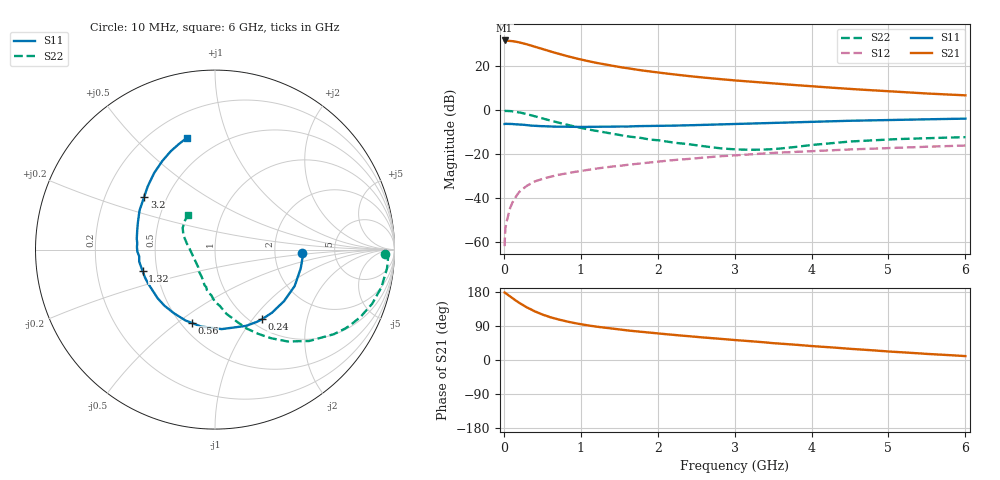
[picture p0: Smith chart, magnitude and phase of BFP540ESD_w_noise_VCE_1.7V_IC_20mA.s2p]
! Infineon Technologies  Discrete & RF Semiconductors
! BFP540ESD
! VCE =  1.7 V,  IC =  20 mA
! Common Emitter S-Parameters:  Nov 2015
# GHz  S  MA  R  50
!  f  S11  S21  S12  S22
! GHz  MAG  ANG  MAG  ANG  MAG  ANG  MAG  ANG
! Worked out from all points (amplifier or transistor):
!   210 points, 10 MHz to 6 GHz, reference 50 ohm
!   highest |S21| = 31.8 dB at 10 MHz (marker M1)
!   |S21| within 3 dB of that: start of sweep to 416.5 MHz
!   unconditionally stable (mu >= 1): start of sweep to 10.41 MHz; 2.131 GHz to end of sweep
!   at 185 MHz: K = 0.20, MSG = 34.5 dB, |S12| = -38.0 dB
!   at 1.52 GHz: K = 0.90, MSG = 22.4 dB, |S12| = -25.3 dB
!   at 6 GHz: K = 1.12, MAG = 9.3 dB, |S12| = -16.1 dB
!   lowest NFmin = 1.17 dB at 900 MHz
!   S11 on the Smith chart (normalised r, x): 10 MHz: 2.88, -0.14; 240 MHz: 1.12, -1.12; 560 MHz: 0.57, -0.57; 1.32 GHz: 0.42, -0.12; 3.2 GHz: 0.37, +0.29; 6 GHz: 0.34, +0.72
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0.01  0.4857 -2.2  38.81 178.1  0.0008 109.0  0.9492 -1.4
0.05  0.489 -12.4  38.43 172.3  0.0036 89.4  0.9641 -6.2
0.1  0.488 -24.6  37.82 164.9  0.0072 83.0  0.9506 -12.8
0.155  0.4786 -37.8  36.49 157.0  0.0105 78.4  0.9221 -19.7
0.2  0.4738 -47.8  35.15 150.9  0.0137 74.2  0.8923 -25.0
0.24  0.4683 -55.9  33.74 145.8  0.0158 72.6  0.8624 -29.4
0.3  0.4589 -67.8  31.67 138.7  0.019 69.4  0.813 -35.4
0.4  0.4445 -85.1  28.04 128.5  0.0238 65.1  0.7307 -44.2
0.5  0.4356 -100.4  24.85 120.0  0.0271 61.6  0.6523 -51.7
0.56  0.4285 -107.7  23.03 116.1  0.0291 60.4  0.6105 -55.1
0.68  0.4221 -120.7  20 108.6  0.0329 57.9  0.5377 -61.8
0.8  0.4207 -132.2  17.46 102.3  0.0359 57.5  0.4753 -68.0
1.02  0.4157 -147.9  14.05 93.8  0.0419 55.6  0.3898 -76.3
1.32  0.4203 -163.4  10.99 85.0  0.0499 54.8  0.3091 -86.2
1.6  0.4241 -174.9  9.063 78.2  0.0567 53.6  0.2546 -94.6
2.02  0.4403 171.6  7.162 69.6  0.0678 51.1  0.2049 -106.8
2.56  0.4616 157.4  5.62 60.0  0.0821 47.7  0.1541 -124.3
3.1  0.487 145.3  4.629 51.3  0.096 43.7  0.1267 -148.4
3.2  0.4927 143.1  4.483 49.7  0.0986 42.7  0.1258 -153.9
4.1  0.5505 126.8  3.413 35.5  0.1188 34.8  0.1671 164.6
5.1  0.6049 113.1  2.641 21.3  0.1394 25.8  0.2193 144.3
6  0.6424 104.0  2.182 10.3  0.157 19.1  0.2433 128.4
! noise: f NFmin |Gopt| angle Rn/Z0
0.9  1.17  0.28  -137  0.11
1.8  1.32  0.31  -144  0.11
2.4  1.35  0.32  -135  0.12
3  1.45  0.35  -130  0.13
4  1.53  0.47  -104  0.22
5  1.66  0.56  -87  0.31
6  1.97  0.55  -87  0.57
